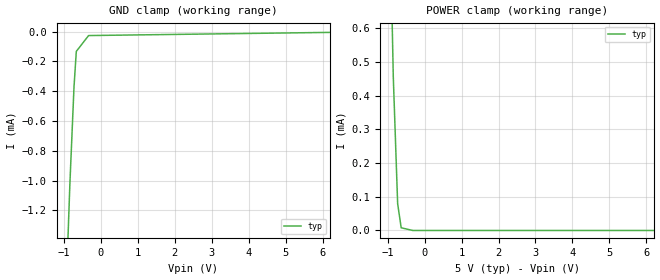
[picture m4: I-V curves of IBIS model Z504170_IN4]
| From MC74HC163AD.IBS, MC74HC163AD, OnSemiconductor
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| (C) COPYRIGHT 1993-2000
| MENTOR GRAPHICS CORPORATION
| ICX STANDARD LIBRARY, ICX PROJECT MODELING,
| ICX CUSTOM MODELING, ICX VENDOR MODEL
| ALL RIGHTS RESERVED.
| THE FOLLOWING ARE TRADEMARKS OR SERVICE MARKS OF
| MENTOR GRAPHICS CORPORATION:ICX (R), ICX STANDARD
| LIBRARY(R), ICX PROJECT MODELING(R), ICX CUSTOM
| MODELING(R), qualityIBIS(TM), MODELVIEWER(TM),
| AND MODELEDITOR(TM)
| ALL COPIES OF SOFTWARE, INCLUDING BUT NOT LIMITED TO
| ANY MODIFICATIONS, ENHANCEMENTS OR DERIVATIVE WORKS,
| MUST CONTAIN ALL MENTOR GRAPHICS CORPORATION'S
| NOTICES AND LEGENDS, INCLUDING THOSE EMBEDDED IN
| SOFTWARE AND THOSE AFFIXED TO SOFTWARE MEDIUM
| AND CONTAINER, AS RECEIVED FROM MENTOR GRAPHICS
| CORPORATION.
| Model Application Version 1.89 2/18/99.
[Model] Z504170_IN4
Model_type Input
Vinl = 1.000V
Vinh = 3.500V
C_comp 4.000pF NA NA
| variable typ   min   max
[Voltage Range] 5.000V NA NA
[GND Clamp Reference] 0.000V NA NA
[POWER Clamp Reference] 5.000V NA NA
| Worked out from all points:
|   GND clamp passes 1 mA (typ) near -0.83 V on its own axis
|   POWER clamp passes 1 mA (typ) near -0.95 V on its own axis
[GND Clamp]
-5V       -32.36mA   NA         NA
-1.12V    -3.009mA   NA         NA
-839.3mV  -1.027mA   NA         NA
-727.5mV  -373uA     NA         NA
-664.7mV  -132.8uA   NA         NA
-332.3mV  -26.64uA   NA         NA
10V       7.004uA    NA         NA
[POWER Clamp]
-5V       30.66mA    NA         NA
-1.411V   4.067mA    NA         NA
-1.093V   1.863mA    NA         NA
-1.001V   1.274mA    NA         NA
-848mV    456.7uA    NA         NA
-730mV    79.52uA    NA         NA
-634mV    7.951uA    NA         NA
-317mV    0A         NA         NA
10V       0A         NA         NA
